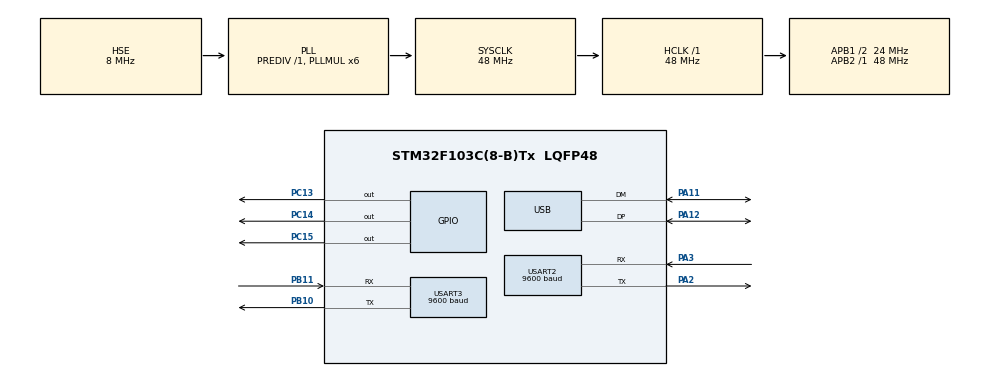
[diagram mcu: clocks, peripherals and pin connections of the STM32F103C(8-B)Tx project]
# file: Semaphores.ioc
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Mcu.Family=STM32F1
Mcu.Name=STM32F103C(8-B)Tx
Mcu.Package=LQFP48
NVIC.PriorityGroup=NVIC_PRIORITYGROUP_4
NVIC.TIM1_UP_IRQn=true\:15\:0\:false\:false\:true\:false\:true
NVIC.TIM4_IRQn=true\:1\:0\:true\:false\:true\:true\:true
NVIC.TimeBase=TIM1_UP_IRQn
NVIC.TimeBaseIP=TIM1
NVIC.USB_LP_CAN1_RX0_IRQn=true\:0\:0\:false\:false\:true\:false\:true
PA11.Mode=Device
PA11.Signal=USB_DM
PA12.Mode=Device
PA12.Signal=USB_DP
PA13.Mode=Serial_Wire
PA13.Signal=SYS_JTMS-SWDIO
PA14.Mode=Serial_Wire
PA14.Signal=SYS_JTCK-SWCLK
PA2.Mode=Asynchronous
PA2.Signal=USART2_TX
PA3.Mode=Asynchronous
PA3.Signal=USART2_RX
PB10.Mode=Asynchronous
PB10.Signal=USART3_TX
PB11.Mode=Asynchronous
PB11.Signal=USART3_RX
PC13-TAMPER-RTC.Signal=GPIO_Output
PC14-OSC32_IN.Signal=GPIO_Output
PC15-OSC32_OUT.Signal=GPIO_Output
PD0-OSC_IN.Mode=HSE-External-Oscillator
PD0-OSC_IN.Signal=RCC_OSC_IN
PD1-OSC_OUT.Mode=HSE-External-Oscillator
PD1-OSC_OUT.Signal=RCC_OSC_OUT
ProjectManager.HeapSize=0x200
ProjectManager.StackSize=0x400
ProjectManager.TargetToolchain=MDK-ARM V5
RCC.AHBFreq_Value=48000000
RCC.APB1CLKDivider=RCC_HCLK_DIV2
RCC.APB1Freq_Value=24000000
RCC.APB1TimFreq_Value=48000000
RCC.APB2Freq_Value=48000000
RCC.APB2TimFreq_Value=48000000
RCC.HCLKFreq_Value=48000000
RCC.PLLMUL=RCC_PLL_MUL6
RCC.SYSCLKFreq_VALUE=48000000
RCC.SYSCLKSource=RCC_SYSCLKSOURCE_PLLCLK
RCC.USBFreq_Value=48000000
TIM4.AutoReloadPreload=TIM_AUTORELOAD_PRELOAD_ENABLE
TIM4.Period=9999
TIM4.Prescaler=480
USART2.BaudRate=9600
USART2.VirtualMode=VM_ASYNC
USART3.BaudRate=9600
USART3.VirtualMode=VM_ASYNC
USB_DEVICE.CLASS_NAME_FS=CDC
USB_DEVICE.VirtualMode=Cdc
USB_DEVICE.VirtualModeFS=Cdc_FS
VP_SYS_VS_tim1.Mode=TIM1
VP_TIM4_VS_ClockSourceINT.Mode=Internal
VP_USB_DEVICE_VS_USB_DEVICE_CDC_FS.Mode=CDC_FS
board=custom

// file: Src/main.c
/* USER CODE BEGIN Header */
/**
  ******************************************************************************
  * @file           : main.c
  * @brief          : Main program body
  ******************************************************************************
  * @attention
  *
  * <h2><center>&copy; Copyright (c) 2021 STMicroelectronics.
  * All rights reserved.</center></h2>
  *
  * This software component is licensed by ST under Ultimate Liberty license
  * SLA0044, the "License"; You may not use this file except in compliance with
  * the License. You may obtain a copy of the License at:
  *                             www.st.com/SLA0044
  *
  ******************************************************************************
  */
/* USER CODE END Header */
#include "main.h"
#include "usb_device.h"

/* USER CODE BEGIN Includes */
#include <stdio.h>
#include <stdint.h>
#include <string.h>
#include "osKernel.h"
/* USER CODE END Includes */

/* USER CODE BEGIN PM */
#define QUANTA 			1
/* USER CODE END PM */

TIM_HandleTypeDef htim4;

UART_HandleTypeDef huart2;
UART_HandleTypeDef huart3;

void SystemClock_Config(void);
static void MX_GPIO_Init(void);
static void MX_USART2_UART_Init(void);
static void MX_USART3_UART_Init(void);
static void MX_TIM4_Init(void);
/* USER CODE BEGIN PFP */
uint32_t counter1 = 0, counter2 = 0, counter3 = 0;
int32_t semaphore1, semaphore2;
char *str = "Greetings Systick Handler, this is the demostration RTOS application\n\r";
/* USER CODE END PFP */

/* USER CODE BEGIN 0 */
void Console_UART2(void)
{
	char *str = "Greetings from UART 2, this is the demostration RTOS application, Task1 and Task 2 try to access UART peripheral so it makes the output print the wrong value\n\r";
	while(1)
	{
		osSignalWait(&semaphore1);
		HAL_UART_Transmit(&huart2, (uint8_t *)str, strlen(str), 1000);
		osSignalSet(&semaphore2);
	}
}

void Console_UART3(void)
{
	char *str = "Greetings from UART 3, this is the demostration RTOS application, Task1 and Task 2 try to access UART peripheral so it makes the output print the wrong value\n\r";
	while(1)
	{
		osSignalWait(&semaphore2);
		HAL_UART_Transmit(&huart2, (uint8_t *)str, strlen(str), 1000);
		osSignalSet(&semaphore1);
	}
}

void LED_C13_Task(void)
{
	while(1)
	{
		HAL_GPIO_TogglePin(GPIOC, GPIO_PIN_13);
		HAL_Delay(100);
	}
}

void Task3(void)
{
	HAL_GPIO_TogglePin(GPIOC, GPIO_PIN_14);
}
/* USER CODE END 0 */

int main(void)
{

  /* MCU Configuration--------------------------------------------------------*/

  /* Reset of all peripherals, Initializes the Flash interface and the Systick. */
  HAL_Init();

  /* Configure the system clock */
  SystemClock_Config();

  /* Initialize all configured peripherals */
  MX_GPIO_Init();
  MX_USART2_UART_Init();
  MX_USART3_UART_Init();
  MX_USB_DEVICE_Init();
  MX_TIM4_Init();
  HAL_TIM_Base_Start_IT(&htim4);
  /* USER CODE BEGIN 2 */
	osSemaphoreInit(&semaphore1, 0);
	osSemaphoreInit(&semaphore2, 1);
	osKernelInit();
	osKernelAddThreads(&LED_C13_Task, &Console_UART2, &Console_UART3);
	osKernelLaunch(QUANTA);
  /* USER CODE END 2 */

  /* Infinite loop */
  while (1)
  {
  }
}

void SystemClock_Config(void)
{
  RCC_OscInitTypeDef RCC_OscInitStruct = {0};
  RCC_ClkInitTypeDef RCC_ClkInitStruct = {0};
  RCC_PeriphCLKInitTypeDef PeriphClkInit = {0};

  /** Initializes the RCC Oscillators according to the specified parameters
  * in the RCC_OscInitTypeDef structure.
  */
  RCC_OscInitStruct.OscillatorType = RCC_OSCILLATORTYPE_HSE;
  RCC_OscInitStruct.HSEState = RCC_HSE_ON;
  RCC_OscInitStruct.HSEPredivValue = RCC_HSE_PREDIV_DIV1;
  RCC_OscInitStruct.HSIState = RCC_HSI_ON;
  RCC_OscInitStruct.PLL.PLLState = RCC_PLL_ON;
  RCC_OscInitStruct.PLL.PLLSource = RCC_PLLSOURCE_HSE;
  RCC_OscInitStruct.PLL.PLLMUL = RCC_PLL_MUL6;
  if (HAL_RCC_OscConfig(&RCC_OscInitStruct) != HAL_OK)
  {
    Error_Handler();
  }
  /** Initializes the CPU, AHB and APB buses clocks
  */
  RCC_ClkInitStruct.ClockType = RCC_CLOCKTYPE_HCLK|RCC_CLOCKTYPE_SYSCLK
                              |RCC_CLOCKTYPE_PCLK1|RCC_CLOCKTYPE_PCLK2;
  RCC_ClkInitStruct.SYSCLKSource = RCC_SYSCLKSOURCE_PLLCLK;
  RCC_ClkInitStruct.AHBCLKDivider = RCC_SYSCLK_DIV1;
  RCC_ClkInitStruct.APB1CLKDivider = RCC_HCLK_DIV2;
  RCC_ClkInitStruct.APB2CLKDivider = RCC_HCLK_DIV1;

  if (HAL_RCC_ClockConfig(&RCC_ClkInitStruct, FLASH_LATENCY_1) != HAL_OK)
  {
    Error_Handler();
  }
  PeriphClkInit.PeriphClockSelection = RCC_PERIPHCLK_USB;
  PeriphClkInit.UsbClockSelection = RCC_USBCLKSOURCE_PLL;
  if (HAL_RCCEx_PeriphCLKConfig(&PeriphClkInit) != HAL_OK)
  {
    Error_Handler();
  }
}

static void MX_TIM4_Init(void)
{

  TIM_ClockConfigTypeDef sClockSourceConfig = {0};
  TIM_MasterConfigTypeDef sMasterConfig = {0};

  htim4.Instance = TIM4;
  htim4.Init.Prescaler = 480;
  htim4.Init.CounterMode = TIM_COUNTERMODE_UP;
  htim4.Init.Period = 9999;
  htim4.Init.ClockDivision = TIM_CLOCKDIVISION_DIV1;
  htim4.Init.AutoReloadPreload = TIM_AUTORELOAD_PRELOAD_ENABLE;
  if (HAL_TIM_Base_Init(&htim4) != HAL_OK)
  {
    Error_Handler();
  }
  sClockSourceConfig.ClockSource = TIM_CLOCKSOURCE_INTERNAL;
  if (HAL_TIM_ConfigClockSource(&htim4, &sClockSourceConfig) != HAL_OK)
  {
    Error_Handler();
  }
  sMasterConfig.MasterOutputTrigger = TIM_TRGO_RESET;
  sMasterConfig.MasterSlaveMode = TIM_MASTERSLAVEMODE_DISABLE;
  if (HAL_TIMEx_MasterConfigSynchronization(&htim4, &sMasterConfig) != HAL_OK)
  {
    Error_Handler();
  }

}

static void MX_USART2_UART_Init(void)
{

  huart2.Instance = USART2;
  huart2.Init.BaudRate = 9600;
  huart2.Init.WordLength = UART_WORDLENGTH_8B;
  huart2.Init.StopBits = UART_STOPBITS_1;
  huart2.Init.Parity = UART_PARITY_NONE;
  huart2.Init.Mode = UART_MODE_TX_RX;
  huart2.Init.HwFlowCtl = UART_HWCONTROL_NONE;
  huart2.Init.OverSampling = UART_OVERSAMPLING_16;
  if (HAL_UART_Init(&huart2) != HAL_OK)
  {
    Error_Handler();
  }

}

static void MX_USART3_UART_Init(void)
{

  huart3.Instance = USART3;
  huart3.Init.BaudRate = 9600;
  huart3.Init.WordLength = UART_WORDLENGTH_8B;
  huart3.Init.StopBits = UART_STOPBITS_1;
  huart3.Init.Parity = UART_PARITY_NONE;
  huart3.Init.Mode = UART_MODE_TX_RX;
  huart3.Init.HwFlowCtl = UART_HWCONTROL_NONE;
  huart3.Init.OverSampling = UART_OVERSAMPLING_16;
  if (HAL_UART_Init(&huart3) != HAL_OK)
  {
    Error_Handler();
  }

}

static void MX_GPIO_Init(void)
{
  GPIO_InitTypeDef GPIO_InitStruct = {0};

  /* GPIO Ports Clock Enable */
  __HAL_RCC_GPIOC_CLK_ENABLE();
  __HAL_RCC_GPIOD_CLK_ENABLE();
  __HAL_RCC_GPIOA_CLK_ENABLE();
  __HAL_RCC_GPIOB_CLK_ENABLE();

  /*Configure GPIO pin Output Level */
  HAL_GPIO_WritePin(GPIOC, GPIO_PIN_13|GPIO_PIN_14|GPIO_PIN_15, GPIO_PIN_RESET);

  /*Configure GPIO pins : PC13 PC14 PC15 */
  GPIO_InitStruct.Pin = GPIO_PIN_13|GPIO_PIN_14|GPIO_PIN_15;
  GPIO_InitStruct.Mode = GPIO_MODE_OUTPUT_PP;
  GPIO_InitStruct.Pull = GPIO_NOPULL;
  GPIO_InitStruct.Speed = GPIO_SPEED_FREQ_LOW;
  HAL_GPIO_Init(GPIOC, &GPIO_InitStruct);

}

void HAL_TIM_PeriodElapsedCallback(TIM_HandleTypeDef *htim)
{
  /* USER CODE BEGIN Callback 0 */
	if (htim->Instance == TIM4) {
		//HAL_GPIO_TogglePin(GPIOC, GPIO_PIN_13);
  }
  /* USER CODE END Callback 0 */
  if (htim->Instance == TIM1) {
    HAL_IncTick();
  }
}

void Error_Handler(void)
{
  __disable_irq();
  while (1)
  {
  }
}

/************************ (C) COPYRIGHT STMicroelectronics *****END OF FILE****/
